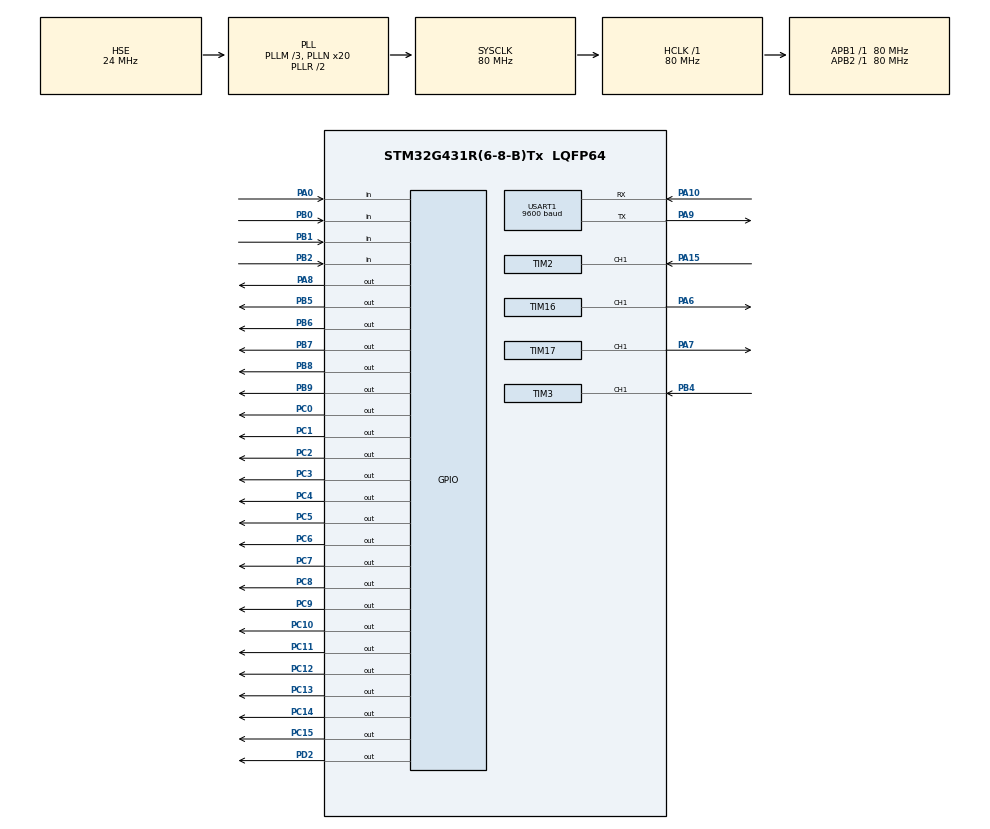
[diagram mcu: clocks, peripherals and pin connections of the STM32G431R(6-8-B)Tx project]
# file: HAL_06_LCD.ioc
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Mcu.Family=STM32G4
Mcu.Name=STM32G431R(6-8-B)Tx
Mcu.Package=LQFP64
NVIC.PriorityGroup=NVIC_PRIORITYGROUP_4
NVIC.TIM1_BRK_TIM15_IRQn=true\:0\:0\:false\:false\:true\:true\:true\:true
NVIC.TIM2_IRQn=true\:0\:0\:false\:false\:true\:true\:true\:true
NVIC.TIM3_IRQn=true\:0\:0\:false\:false\:true\:true\:true\:true
NVIC.USART1_IRQn=true\:0\:0\:false\:false\:true\:true\:true\:true
PA0.GPIO_PuPd=GPIO_PULLUP
PA0.Signal=GPIO_Input
PA10.Mode=Asynchronous
PA10.Signal=USART1_RX
PA15.Signal=S_TIM2_CH1
PA6.Signal=S_TIM16_CH1
PA7.Signal=S_TIM17_CH1
PA8.Signal=GPIO_Output
PA9.Mode=Asynchronous
PA9.Signal=USART1_TX
PB0.GPIO_Mode=GPIO_MODE_INPUT
PB0.GPIO_PuPd=GPIO_PULLUP
PB0.Signal=GPIO_Input
PB1.GPIO_Mode=GPIO_MODE_INPUT
PB1.GPIO_PuPd=GPIO_PULLUP
PB1.Signal=GPIO_Input
PB2.GPIO_Mode=GPIO_MODE_INPUT
PB2.GPIO_PuPd=GPIO_PULLUP
PB2.Signal=GPIO_Input
PB4.Signal=S_TIM3_CH1
PB5.Signal=GPIO_Output
PB6.Signal=GPIO_Output
PB7.Signal=GPIO_Output
PB8-BOOT0.Signal=GPIO_Output
PB9.Signal=GPIO_Output
PC0.Signal=GPIO_Output
PC1.Signal=GPIO_Output
PC10.Signal=GPIO_Output
PC11.Signal=GPIO_Output
PC12.Signal=GPIO_Output
PC13.Signal=GPIO_Output
PC14-OSC32_IN.Signal=GPIO_Output
PC15-OSC32_OUT.Signal=GPIO_Output
PC2.Signal=GPIO_Output
PC3.Signal=GPIO_Output
PC4.Signal=GPIO_Output
PC5.Signal=GPIO_Output
PC6.Signal=GPIO_Output
PC7.Signal=GPIO_Output
PC8.Signal=GPIO_Output
PC9.Signal=GPIO_Output
PD2.Signal=GPIO_Output
PF0-OSC_IN.Mode=HSE-External-Oscillator
PF0-OSC_IN.Signal=RCC_OSC_IN
PF1-OSC_OUT.Mode=HSE-External-Oscillator
PF1-OSC_OUT.Signal=RCC_OSC_OUT
ProjectManager.HeapSize=0x200
ProjectManager.StackSize=0x400
ProjectManager.TargetToolchain=MDK-ARM V5.32
RCC.ADC12Freq_Value=80000000
RCC.AHBFreq_Value=80000000
RCC.APB1Freq_Value=80000000
RCC.APB1TimFreq_Value=80000000
RCC.APB2Freq_Value=80000000
RCC.APB2TimFreq_Value=80000000
RCC.CortexFreq_Value=80000000
RCC.EXTERNAL_CLOCK_VALUE=12288000
RCC.HCLKFreq_Value=80000000
RCC.HSE_VALUE=24000000
RCC.HSI48_VALUE=48000000
RCC.HSI_VALUE=16000000
RCC.LSE_VALUE=32768
RCC.PLLM=RCC_PLLM_DIV3
RCC.PLLN=20
RCC.PLLSourceVirtual=RCC_PLLSOURCE_HSE
RCC.SYSCLKFreq_VALUE=80000000
RCC.SYSCLKSource=RCC_SYSCLKSOURCE_PLLCLK
RCC.USBFreq_Value=80000000
RCC.VCOOutputFreq_Value=160000000
SH.S_TIM16_CH1.0=TIM16_CH1,PWM Generation1 CH1
SH.S_TIM17_CH1.0=TIM17_CH1,PWM Generation1 CH1
SH.S_TIM2_CH1.0=TIM2_CH1,Input_Capture1_from_TI1
SH.S_TIM3_CH1.0=TIM3_CH1,Input_Capture1_from_TI1
TIM15.AutoReloadPreload=TIM_AUTORELOAD_PRELOAD_ENABLE
TIM15.PeriodNoDither=10000-1
TIM15.Prescaler=80-1
TIM16.AutoReloadPreload=TIM_AUTORELOAD_PRELOAD_ENABLE
TIM16.Channel=TIM_CHANNEL_1
TIM16.PeriodNoDither=1000-1
TIM16.Prescaler=1600-1
TIM17.AutoReloadPreload=TIM_AUTORELOAD_PRELOAD_ENABLE
TIM17.Channel=TIM_CHANNEL_1
TIM17.PeriodNoDither=1000-1
TIM17.Prescaler=1600-1
TIM2.AutoReloadPreload=TIM_AUTORELOAD_PRELOAD_ENABLE
TIM2.Channel-Input_Capture1_from_TI1=TIM_CHANNEL_1
TIM2.PeriodNoDither=500000
TIM2.Prescaler=80-1
TIM3.AutoReloadPreload=TIM_AUTORELOAD_PRELOAD_ENABLE
TIM3.Channel-Input_Capture1_from_TI1=TIM_CHANNEL_1
TIM3.PeriodNoDither=60000
TIM3.Prescaler=80-1
USART1.BaudRate=9600
USART1.VirtualMode-Asynchronous=VM_ASYNC
VP_SYS_VS_DBSignals.Mode=DisableDeadBatterySignals
VP_TIM15_VS_ClockSourceINT.Mode=Internal
VP_TIM16_VS_ClockSourceINT.Mode=Enable_Timer
VP_TIM17_VS_ClockSourceINT.Mode=Enable_Timer
VP_TIM2_VS_ClockSourceINT.Mode=Internal
VP_TIM3_VS_ClockSourceINT.Mode=Internal
board=custom

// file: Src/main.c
/* USER CODE BEGIN Header */
/**
  ******************************************************************************
  * @file           : main.c
  * @brief          : Main program body
  ******************************************************************************
  * @attention
  *
  * <h2><center>&copy; Copyright (c) 2021 STMicroelectronics.
  * All rights reserved.</center></h2>
  *
  * This software component is licensed by ST under BSD 3-Clause license,
  * the "License"; You may not use this file except in compliance with the
  * License. You may obtain a copy of the License at:
  *                        opensource.org/licenses/BSD-3-Clause
  *
  ******************************************************************************
  */
/* USER CODE END Header */
#include "main.h"
#include "tim.h"
#include "usart.h"
#include "gpio.h"

/* USER CODE BEGIN Includes */
#include "interrupt.h"
#include "bsp.h"
#include "stdio.h"
#include "i2c_hal.h"
#include "string.h"
/* USER CODE END Includes */

/* USER CODE BEGIN PTD */
extern struct KEY keys[];

extern long int R40_frq;
extern long int R39_frq;

extern int pointer;
/* USER CODE END PTD */

/* USER CODE BEGIN PD */
struct Channel_para channel_para[2]={0,0};
struct Usart_get_data usart_get_data[2]={0,0};
/* USER CODE END PD */

/* USER CODE BEGIN PM */
char text[30];
uint8_t pdata;
char rx_data[15];
char tx_data[15];

int key0_flag=0;
int key1_flag=0;

int show_channel_flag=0;

/* USER CODE END PM */

/* USER CODE BEGIN PV */
int pa6_valuedata=0;
int pa7_valuedata=0;

long int limit_pa6_data=0;
long int limit_pa7_data=0;

_Bool pa6_out_flag=0;
_Bool pa7_out_flag=0;

_Bool led_off=1;
/* USER CODE END PV */

void SystemClock_Config(void);

int main(void)
{

  /* MCU Configuration--------------------------------------------------------*/

  /* Reset of all peripherals, Initializes the Flash interface and the Systick. */
  HAL_Init();

  /* Configure the system clock */
  SystemClock_Config();

  /* Initialize all configured peripherals */
  MX_GPIO_Init();
  MX_TIM2_Init();
  MX_TIM3_Init();
  MX_TIM15_Init();
  MX_TIM16_Init();
  MX_TIM17_Init();
  MX_USART1_UART_Init();
  /* USER CODE BEGIN 2 */
	LCD_Init();
	HAL_UART_Receive_IT(&huart1, &pdata, 1);
	HAL_TIM_Base_Start_IT(&htim15); //开启按键扫描定时器

	HAL_TIM_IC_Start_IT(&htim2, TIM_CHANNEL_1);
	HAL_TIM_IC_Start_IT(&htim3, TIM_CHANNEL_1);

	HAL_TIM_PWM_Start(&htim16, TIM_CHANNEL_1);
	HAL_TIM_PWM_Start(&htim17, TIM_CHANNEL_1);

	if(eeprom_read(0xff)!=20)
	{
		HAL_Delay(5);
		channel_para[0].N=2;
		channel_para[1].N=2;
		eeprom_wirte(0xff,20);
		HAL_Delay(5);
	}
	else
	{
		channel_para[0].N=eeprom_read(0);
		HAL_Delay(5);
		channel_para[1].N=eeprom_read(1);
		HAL_Delay(5);
	}
	frq_init();

	LCD_Clear(Black);
	LCD_SetBackColor(Black);
	LCD_SetTextColor(White);

	HAL_GPIO_WritePin(GPIOC,GPIO_PIN_13|GPIO_PIN_14|GPIO_PIN_15|GPIO_PIN_8
                          |GPIO_PIN_9|GPIO_PIN_10|GPIO_PIN_11|GPIO_PIN_12,GPIO_PIN_SET);
	HAL_GPIO_WritePin(GPIOD, GPIO_PIN_2, GPIO_PIN_SET);
	HAL_GPIO_WritePin(GPIOD, GPIO_PIN_2, GPIO_PIN_RESET);
  /* USER CODE END 2 */

  /* Infinite loop */
  while (1)
  {

    /* USER CODE BEGIN 3 **/

	  key_proc();
		if(key0_flag%2!=0)
		{
			receive_data();
		}

		Frq_setting();
		led_display();
		lcd_proc();
	//__HAL_TIM_SetCompare(&htim16,TIM_CHANNEL_1,1000);
  }
  /* USER CODE END 3 */
}

void SystemClock_Config(void)
{
  RCC_OscInitTypeDef RCC_OscInitStruct = {0};
  RCC_ClkInitTypeDef RCC_ClkInitStruct = {0};

  /** Configure the main internal regulator output voltage
  */
  HAL_PWREx_ControlVoltageScaling(PWR_REGULATOR_VOLTAGE_SCALE1);

  /** Initializes the RCC Oscillators according to the specified parameters
  * in the RCC_OscInitTypeDef structure.
  */
  RCC_OscInitStruct.OscillatorType = RCC_OSCILLATORTYPE_HSE;
  RCC_OscInitStruct.HSEState = RCC_HSE_ON;
  RCC_OscInitStruct.PLL.PLLState = RCC_PLL_ON;
  RCC_OscInitStruct.PLL.PLLSource = RCC_PLLSOURCE_HSE;
  RCC_OscInitStruct.PLL.PLLM = RCC_PLLM_DIV3;
  RCC_OscInitStruct.PLL.PLLN = 20;
  RCC_OscInitStruct.PLL.PLLP = RCC_PLLP_DIV2;
  RCC_OscInitStruct.PLL.PLLQ = RCC_PLLQ_DIV2;
  RCC_OscInitStruct.PLL.PLLR = RCC_PLLR_DIV2;
  if (HAL_RCC_OscConfig(&RCC_OscInitStruct) != HAL_OK)
  {
    Error_Handler();
  }

  /** Initializes the CPU, AHB and APB buses clocks
  */
  RCC_ClkInitStruct.ClockType = RCC_CLOCKTYPE_HCLK|RCC_CLOCKTYPE_SYSCLK
                              |RCC_CLOCKTYPE_PCLK1|RCC_CLOCKTYPE_PCLK2;
  RCC_ClkInitStruct.SYSCLKSource = RCC_SYSCLKSOURCE_PLLCLK;
  RCC_ClkInitStruct.AHBCLKDivider = RCC_SYSCLK_DIV1;
  RCC_ClkInitStruct.APB1CLKDivider = RCC_HCLK_DIV1;
  RCC_ClkInitStruct.APB2CLKDivider = RCC_HCLK_DIV1;

  if (HAL_RCC_ClockConfig(&RCC_ClkInitStruct, FLASH_LATENCY_2) != HAL_OK)
  {
    Error_Handler();
  }
}

/* USER CODE BEGIN 4 */
void deal_rx_data(){
	if(pointer==8)
	{
		if(rx_data[4]=='1')//通道0
		{
			usart_get_data[0].double_num1=(rx_data[6]-48)*10+(rx_data[7]-48);
			if(usart_get_data[0].double_num1<=10&&usart_get_data[0].double_num1>=2)
			{
				channel_para[0].N=usart_get_data[0].double_num1;
				eeprom_wirte(0,channel_para[0].N);
				pa6_out_flag=0;
			}
			else
				pa6_out_flag=1;
		}
		else if(rx_data[4]=='2')//通道1
		{
			usart_get_data[1].double_num1=(rx_data[6]-48)*10+(rx_data[7]-48);
			if(usart_get_data[1].double_num1<=10&&usart_get_data[1].double_num1>=2)
			{
				channel_para[1].N=usart_get_data[1].double_num1;
				eeprom_wirte(1,channel_para[1].N);
				pa7_out_flag=0;
			}
			else
				pa7_out_flag=1;
		}
		else
		{
			sprintf(tx_data,"send error2\r\n");
			HAL_UART_Transmit(&huart1, (uint8_t*)tx_data,strlen(tx_data),100);
		}
		pointer=0;
	}
	else if(pointer==7)
	{
		if(rx_data[4]=='1')//通道0
		{
			usart_get_data[0].double_num1=(rx_data[6]-48);
			if(usart_get_data[0].double_num1<=10&&usart_get_data[0].double_num1>=2)
			{
				channel_para[0].N=usart_get_data[0].double_num1;
				eeprom_wirte(0,channel_para[0].N);
				pa6_out_flag=0;
			}
			else
				pa6_out_flag=1;
		}
		else if(rx_data[4]=='2')//通道1
		{
			usart_get_data[1].double_num1=(rx_data[6]-48);
			if(usart_get_data[1].double_num1<=10&&usart_get_data[1].double_num1>=2)
			{
				channel_para[1].N=usart_get_data[1].double_num1;
				eeprom_wirte(1,channel_para[1].N);
				pa7_out_flag=0;
			}
			else
				pa7_out_flag=1;
		}
		else
		{
			sprintf(tx_data,"send error3\r\n");
			HAL_UART_Transmit(&huart1, (uint8_t*)tx_data,strlen(tx_data),100);
		}
		pointer=0;
	}
	else
	{
		sprintf(tx_data,"send error1\r\n");
		HAL_UART_Transmit(&huart1, (uint8_t*)tx_data,strlen(tx_data),100);
		pointer=0;
	}
}

void receive_data(){
	if(pointer>0)
	{
		int temp=pointer;
		HAL_Delay(1);
		if(temp==pointer)
			deal_rx_data();
	}
}
void key_proc(){
//////////////////////////////////////////////////////////////////key0
	if(keys[0].short_flag==1)
	{
		key0_flag+=1;
		if(key0_flag%2!=0)show_channel_flag=55;
		keys[0].short_flag=0;
	}

/////////////////////////////////////////////////////////////////key1
	if(keys[1].short_flag==1&&key0_flag%2==0)
	{
		key1_flag+=1;
		if(key1_flag%2==0)
			show_channel_flag=0;
		else
			show_channel_flag=1;
		keys[1].short_flag=0;
	}
	else if(keys[1].short_flag==1)
	{
		keys[1].short_flag=0;
	}

/////////////////////////////////////////////////////////////////key2
	if(keys[2].short_flag==1&&key0_flag%2==0)
	{
		if(key1_flag%2==0)
		{
			if(channel_para[0].N>0)
			{
				channel_para[0].N-=1;////////////加入eeprom
			}
			else
			{
				channel_para[0].N=channel_para[0].N;
			}
			eeprom_wirte(0,channel_para[0].N);
			HAL_Delay(5);
		}
		else
		{
			if(channel_para[1].N>0)
			{
				channel_para[1].N-=1;////////////加入eeprom
			}
			else
			{
				channel_para[1].N=channel_para[1].N;
			}
			eeprom_wirte(1,channel_para[1].N);
			HAL_Delay(5);
		}
		keys[2].short_flag=0;
	}
	else if(keys[2].short_flag==1)
	{
		keys[2].short_flag=0;
	}

/////////////////////////////////////////////////////////////////key3
	if(keys[3].short_flag==1&&key0_flag%2==0)
	{
		if(key1_flag%2==0)
		{
			if(channel_para[0].N<10)
			{
				channel_para[0].N+=1;////////////加入eeprom
			}
			else
			{
				channel_para[0].N=channel_para[0].N;
			}
			eeprom_wirte(0,channel_para[0].N);
			HAL_Delay(5);
		}
		else
		{
			if(channel_para[1].N<10)
			{
				channel_para[1].N+=1;////////////加入eeprom
			}
			else
			{
				channel_para[1].N=channel_para[1].N;
			}
			eeprom_wirte(1,channel_para[1].N);
			HAL_Delay(5);
		}
		keys[3].short_flag=0;
	}
	else if(keys[3].short_flag==1)
	{
		keys[3].short_flag=0;
	}
}

void Frq_setting(){
	if(key1_flag%2==0)//pa6
	{
		limit_pa6_data=R39_frq*channel_para[0].N;
	}
	else
	{
		limit_pa7_data=R40_frq*channel_para[1].N;

	}
	//////pa6
	if(limit_pa6_data>=50&&limit_pa6_data<=50000)
	{
		pa6_valuedata=(80000000/(160*R39_frq*channel_para[0].N));
	__HAL_TIM_SetAutoreload(&htim16,pa6_valuedata-1);
	__HAL_TIM_SetCompare(&htim16,TIM_CHANNEL_1,(pa6_valuedata-1)/2);
		pa6_out_flag=0;
	}
	else
	{
		__HAL_TIM_SetAutoreload(&htim16,10000-1);
		__HAL_TIM_SetCompare(&htim16,TIM_CHANNEL_1,5000);
		HAL_GPIO_WritePin(GPIOA,GPIO_PIN_6,GPIO_PIN_RESET);
		pa6_out_flag=1;
	}
	//////pa7
	if(limit_pa7_data>=50&&limit_pa7_data<=50000)
	{
		pa7_valuedata=(80000000/(160*R40_frq*channel_para[1].N));
	__HAL_TIM_SetAutoreload(&htim17,pa7_valuedata-1);
	__HAL_TIM_SetCompare(&htim17,TIM_CHANNEL_1,(pa7_valuedata-1)/2);
		pa7_out_flag=0;
	}
	else
	{
		__HAL_TIM_SetAutoreload(&htim17,10000-1);
		__HAL_TIM_SetCompare(&htim17,TIM_CHANNEL_1,5000);
		HAL_GPIO_WritePin(GPIOA,GPIO_PIN_7,GPIO_PIN_RESET);
		pa6_out_flag=1;
	}
}

void frq_init(){
	limit_pa6_data=R39_frq*channel_para[0].N;
	limit_pa7_data=R40_frq*channel_para[1].N;
	if(limit_pa6_data>=50&&limit_pa6_data<=50000)
	{
		pa6_valuedata=(80000000/(160*R39_frq*channel_para[0].N));
	__HAL_TIM_SetAutoreload(&htim16,pa6_valuedata-1);
	__HAL_TIM_SetCompare(&htim16,TIM_CHANNEL_1,(pa6_valuedata-1)/2);
		pa6_out_flag=0;
	}
	else
	{
		__HAL_TIM_SetAutoreload(&htim16,10000-1);
		__HAL_TIM_SetCompare(&htim16,TIM_CHANNEL_1,5000);
		HAL_GPIO_WritePin(GPIOA,GPIO_PIN_6,GPIO_PIN_RESET);
		pa6_out_flag=1;
	}
	//////
	if(limit_pa7_data>=50&&limit_pa7_data<=50000)
	{
	pa7_valuedata=(80000000/(160*R40_frq*channel_para[1].N));
	__HAL_TIM_SetAutoreload(&htim17,pa7_valuedata-1);
	__HAL_TIM_SetCompare(&htim17,TIM_CHANNEL_1,(pa7_valuedata-1)/2);
		pa7_out_flag=0;
	}
	else
	{
		__HAL_TIM_SetAutoreload(&htim17,10000-1);
		__HAL_TIM_SetCompare(&htim17,TIM_CHANNEL_1,5000);
		HAL_GPIO_WritePin(GPIOA,GPIO_PIN_7,GPIO_PIN_RESET);
		pa6_out_flag=1;
	}

}

void lcd_proc(){
		////////////////////////////////第1 2行
	LCD_SetTextColor(White);
	sprintf(text,"R39_frq:%ld       ",R39_frq);
	LCD_DisplayStringLine(Line0,(unsigned char *)text);
	LCD_SetTextColor(White);
	sprintf(text,"R40_frq:%ld       ",R40_frq);
	LCD_DisplayStringLine(Line1,(unsigned char *)text);

		////////////////////////////////第6 7 行
	LCD_SetTextColor(White);
	sprintf(text,"N(1):%d       ",channel_para[0].N);
	LCD_DisplayStringLine(Line6,(unsigned char *)text);
	LCD_SetTextColor(White);
	sprintf(text,"N(2):%d       ",channel_para[1].N);
	LCD_DisplayStringLine(Line7,(unsigned char *)text);

	////////////////////////////////第八行
	if(show_channel_flag==0)
	{
		LCD_SetTextColor(White);
		sprintf(text,"Channel:0      ");
		LCD_DisplayStringLine(Line8,(unsigned char *)text);
	}
	else if(show_channel_flag==1)
	{
		LCD_SetTextColor(White);
		sprintf(text,"Channel:1      ");
		LCD_DisplayStringLine(Line8,(unsigned char *)text);
	}
	else
	{
		LCD_SetTextColor(White);
		sprintf(text,"           ");
		LCD_DisplayStringLine(Line8,(unsigned char *)text);
	}
	////////////////////////////////第9行
	LCD_SetTextColor(White);
	sprintf(text,"usart_double_num:%d",usart_get_data[1].double_num1);
	LCD_DisplayStringLine(Line9,(unsigned char *)text);
}

void led_display(){

	if(led_off==1)
	{
		led_dispaly(GPIOC,GPIO_PIN_13|GPIO_PIN_14|GPIO_PIN_15|GPIO_PIN_11|GPIO_PIN_12,GPIO_PIN_SET);
	}

	if(key0_flag%2!=0)
	{
		led_dispaly(GPIOC,GPIO_PIN_10,GPIO_PIN_RESET);
	}
	else
	{
		led_dispaly(GPIOC,GPIO_PIN_10,GPIO_PIN_SET);
	}

	if(key1_flag%2==0)
	{
		if(pa6_out_flag==0)
		{
			HAL_GPIO_WritePin(GPIOC,GPIO_PIN_8,GPIO_PIN_RESET);
		}
		else
		{
			HAL_GPIO_WritePin(GPIOC,GPIO_PIN_8,GPIO_PIN_SET);
		}
		led_dispaly(GPIOC,GPIO_PIN_9,GPIO_PIN_SET);
	}
	else
	{
		if(pa7_out_flag==0)
		{
			HAL_GPIO_WritePin(GPIOC,GPIO_PIN_9,GPIO_PIN_RESET);
		}
		else
		{
			HAL_GPIO_WritePin(GPIOC,GPIO_PIN_9,GPIO_PIN_SET);
		}
		led_dispaly(GPIOC,GPIO_PIN_8,GPIO_PIN_SET);
	}

//	if(key0_flag%2!=0&&key1_flag%2==0) //led3 led1亮
//	{
//		HAL_GPIO_WritePin(GPIOD, GPIO_PIN_2, GPIO_PIN_SET);
//		HAL_GPIO_WritePin(GPIOC,GPIO_PIN_All,GPIO_PIN_SET);
//		if(pa6_out_flag==0)
//		{
//			HAL_GPIO_WritePin(GPIOC,0x5<<8,GPIO_PIN_RESET);
//		}
//		else
//		{
//			HAL_GPIO_WritePin(GPIOC,0x4<<8,GPIO_PIN_RESET);
//		}
//		HAL_GPIO_WritePin(GPIOD, GPIO_PIN_2, GPIO_PIN_RESET);
//	}
//	else if(key0_flag%2==0&&key1_flag%2==0)//led1亮
//	{
//		HAL_GPIO_WritePin(GPIOD, GPIO_PIN_2, GPIO_PIN_SET);
//		HAL_GPIO_WritePin(GPIOC,GPIO_PIN_All,GPIO_PIN_SET);
//		if(pa6_out_flag==0)
//		{
//			HAL_GPIO_WritePin(GPIOC,0x1<<8,GPIO_PIN_RESET);
//		}
//		else
//		{
//			HAL_GPIO_WritePin(GPIOC,0x0<<8,GPIO_PIN_RESET);
//		}
//		HAL_GPIO_WritePin(GPIOD, GPIO_PIN_2, GPIO_PIN_RESET);
//	}
//	else if(key0_flag%2!=0&&key1_flag%2!=0)//led2 led3
//	{
//		HAL_GPIO_WritePin(GPIOD, GPIO_PIN_2, GPIO_PIN_SET);
//		HAL_GPIO_WritePin(GPIOC,GPIO_PIN_All,GPIO_PIN_SET);
//		if(pa7_out_flag==0)
//		{
//			HAL_GPIO_WritePin(GPIOC,0x6<<8,GPIO_PIN_RESET);
//		}
//		else
//		{
//			HAL_GPIO_WritePin(GPIOC,0x4<<8,GPIO_PIN_RESET);
//		}
//		HAL_GPIO_WritePin(GPIOD, GPIO_PIN_2, GPIO_PIN_RESET);
//	}
//	else if(key0_flag%2==0&&key1_flag%2!=0)//led2亮
//	{
//		HAL_GPIO_WritePin(GPIOD, GPIO_PIN_2, GPIO_PIN_SET);
//		HAL_GPIO_WritePin(GPIOC,GPIO_PIN_All,GPIO_PIN_SET);
//		if(pa7_out_flag==0)
//		{
//			HAL_GPIO_WritePin(GPIOC,0x2<<8,GPIO_PIN_RESET);
//		}
//		else
//		{
//			HAL_GPIO_WritePin(GPIOC,0x0<<8,GPIO_PIN_RESET);
//		}
//		HAL_GPIO_WritePin(GPIOD, GPIO_PIN_2, GPIO_PIN_RESET);
//	}
}

void led_dispaly(GPIO_TypeDef *GPIOx, uint16_t GPIO_Pin, GPIO_PinState PinState){

	HAL_GPIO_WritePin(GPIOx,GPIO_Pin,PinState);

	HAL_GPIO_WritePin(GPIOD, GPIO_PIN_2, GPIO_PIN_SET);
	HAL_GPIO_WritePin(GPIOD, GPIO_PIN_2, GPIO_PIN_RESET);
}
/* USER CODE END 4 */

void Error_Handler(void)
{
}
